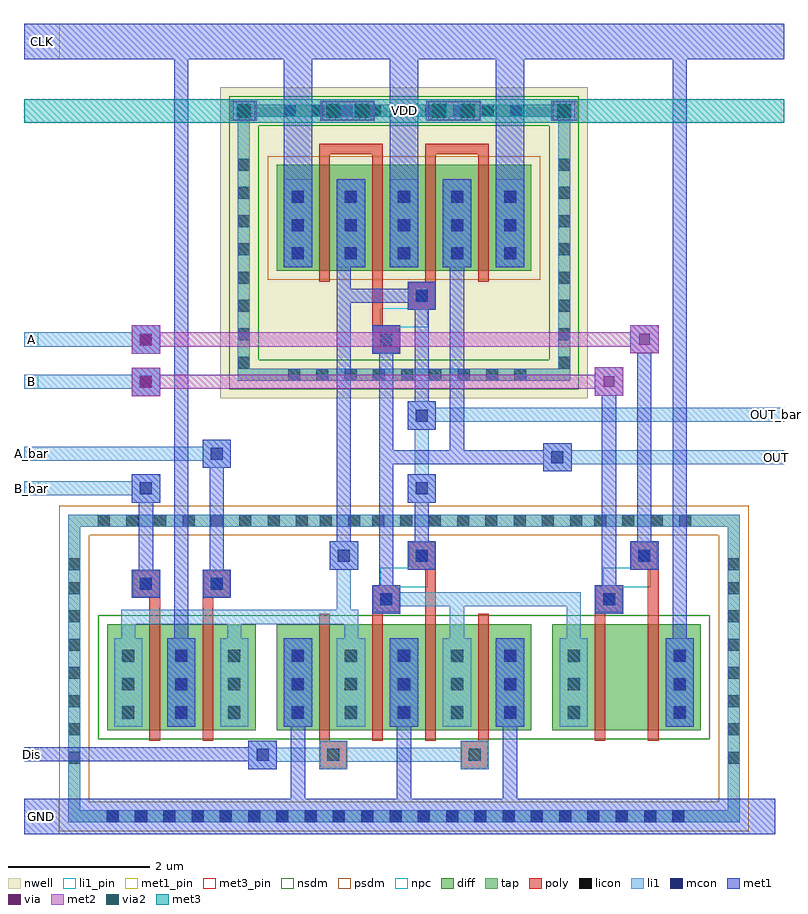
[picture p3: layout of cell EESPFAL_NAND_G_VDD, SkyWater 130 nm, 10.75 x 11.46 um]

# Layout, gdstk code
import gdstk
lib = gdstk.Library(unit=1e-6, precision=1e-09)
def R(c, l, rs):  # rectangles x0, y0, x1, y1
    for r in rs: c.add(gdstk.rectangle(r[:2], r[2:], *l))
def A(c, l, x, y, w, h, nx, ny, dx, dy):  # array of equal rectangles
    R(c, l, [(x+i*dx, y+j*dy, x+i*dx+w, y+j*dy+h) for i in range(nx) for j in range(ny)])
nwell = (64, 20)
diff = (65, 20)
tap = (65, 44)
poly = (66, 20)
licon = (66, 44)
li1_pin = (67, 16)
li1 = (67, 20)
mcon = (67, 44)
met1_pin = (68, 16)
met1 = (68, 20)
via = (68, 44)
met2 = (69, 20)
via2 = (69, 44)
met3_pin = (70, 16)
met3 = (70, 20)
nsdm = (93, 44)
psdm = (94, 20)
npc = (95, 20)

eespfal_nand_g_vdd = lib.new_cell('EESPFAL_NAND_G_VDD')
R(eespfal_nand_g_vdd, nwell, [(-20.15,6.295,-14.95,10.695)])
R(eespfal_nand_g_vdd, diff, [(-21.75,1.6,-19.65,3.1), (-19.35,1.6,-15.75,3.1), (-15.45,1.6,-13.35,3.1), (-19.35,8.095,-15.75,9.595)])
R(eespfal_nand_g_vdd, tap, [(-22.3,0.295,-12.8,0.465), (-22.3,0.465,-22.13,4.48), (-12.97,0.465,-12.8,4.48), (-22.3,4.48,-12.8,4.65), (-19.9,6.545,-15.2,6.715), (-19.9,6.715,-19.73,10.275), (-15.37,6.715,-15.2,10.275), (-19.9,10.275,-15.2,10.445)])
R(eespfal_nand_g_vdd, poly, [(-18.75,1.05,-18.35,1.45), (-16.75,1.05,-16.35,1.45), (-21.15,1.45,-21,3.47), (-20.4,1.45,-20.25,3.47), (-18.75,1.45,-18.6,3.25), (-18,1.45,-17.85,3.25), (-17.25,1.45,-17.1,3.87), (-16.5,1.45,-16.35,3.25), (-14.85,1.45,-14.7,3.25), (-14.1,1.45,-13.95,3.87), (-18,3.25,-17.6,3.65), (-14.85,3.25,-14.45,3.65), (-21.4,3.47,-21,3.87), (-20.4,3.47,-20,3.87), (-17.5,3.87,-17.1,4.27), (-14.35,3.87,-13.95,4.27), (-18,6.925,-17.6,7.325), (-18,7.325,-17.85,9.745), (-17.5,7.545,-17.1,7.945), (-18.75,7.945,-18.6,9.745), (-17.25,7.945,-17.1,9.745), (-16.5,7.945,-16.35,9.745), (-18.75,9.745,-17.85,9.895), (-17.25,9.745,-16.35,9.895)])
A(eespfal_nand_g_vdd, licon, -21.755, 0.295, 0.17, 0.17, 21, 1, 0.4, 0)
A(eespfal_nand_g_vdd, licon, -22.3, 1.125, 0.17, 0.17, 1, 7, 0, 0.4)
A(eespfal_nand_g_vdd, licon, -12.97, 1.125, 0.17, 0.17, 1, 7, 0, 0.4)
A(eespfal_nand_g_vdd, licon, -21.535, 1.765, 0.17, 0.17, 3, 3, 0.75, 0.4)
A(eespfal_nand_g_vdd, licon, -19.135, 1.765, 0.17, 0.17, 5, 3, 0.75, 0.4)
A(eespfal_nand_g_vdd, licon, -15.235, 1.765, 0.17, 0.17, 1, 3, 0, 0.4)
A(eespfal_nand_g_vdd, licon, -13.735, 1.765, 0.17, 0.17, 1, 3, 0, 0.4)
A(eespfal_nand_g_vdd, licon, -21.88, 4.48, 0.17, 0.17, 8, 1, 0.4, 0)
A(eespfal_nand_g_vdd, licon, -18, 4.48, 0.17, 0.17, 8, 1, 0.4, 0)
A(eespfal_nand_g_vdd, licon, -14.86, 4.48, 0.17, 0.17, 4, 1, 0.4, 0)
A(eespfal_nand_g_vdd, licon, -19.19, 6.545, 0.17, 0.17, 9, 1, 0.4, 0)
A(eespfal_nand_g_vdd, licon, -19.9, 6.715, 0.17, 0.17, 1, 8, 0, 0.4)
A(eespfal_nand_g_vdd, licon, -15.37, 6.715, 0.17, 0.17, 1, 8, 0, 0.4)
A(eespfal_nand_g_vdd, licon, -19.135, 8.26, 0.17, 0.17, 5, 3, 0.75, 0.4)
A(eespfal_nand_g_vdd, licon, -19.25, 10.275, 0.17, 0.17, 9, 1, 0.4, 0)
R(eespfal_nand_g_vdd, licon, [(-18.635,1.165,-18.465,1.335), (-16.635,1.165,-16.465,1.335), (-17.885,3.365,-17.715,3.535), (-14.735,3.365,-14.565,3.535), (-21.285,3.585,-21.115,3.755), (-20.285,3.585,-20.115,3.755), (-22.3,3.865,-22.13,4.035), (-12.97,3.865,-12.8,4.035), (-17.385,3.985,-17.215,4.155), (-14.235,3.985,-14.065,4.155), (-18.74,4.48,-18.57,4.65), (-18.34,4.48,-18.17,4.65), (-17.885,7.04,-17.715,7.21), (-17.385,7.66,-17.215,7.83)])
R(eespfal_nand_g_vdd, li1_pin, [(-22.925,4.92,-22.725,5.12), (-12.375,5.36,-12.175,5.56), (-22.925,5.41,-22.725,5.61), (-12.375,5.96,-12.175,6.16), (-22.925,6.43,-22.725,6.63), (-22.925,7.025,-22.725,7.225)])
A(eespfal_nand_g_vdd, li1, -21.65, 1.65, 0.4, 1.25, 3, 1, 0.75, 0)
A(eespfal_nand_g_vdd, li1, -19.25, 1.65, 0.4, 1.25, 5, 2, 0.75, 6.495)
R(eespfal_nand_g_vdd, li1, [(-22.3,0.295,-12.8,0.465), (-22.3,0.465,-22.13,4.48), (-12.97,0.465,-12.8,4.48), (-19.75,1.05,-19.35,1.15), (-18.75,1.05,-18.35,1.15), (-16.75,1.05,-16.35,1.15), (-19.75,1.15,-16.35,1.35), (-19.75,1.35,-19.35,1.45), (-18.75,1.35,-18.35,1.45), (-16.75,1.35,-16.35,1.45), (-15.35,1.65,-14.95,2.9), (-13.85,1.65,-13.45,2.9), (-21.55,2.9,-21.35,3.1), (-20.05,2.9,-19.85,3.1), (-18.395,2.9,-18.2,3.1), (-16.9,2.9,-16.7,3.35), (-15.25,2.9,-15.05,3.35), (-21.55,3.1,-18.2,3.3), (-18,3.25,-17.6,3.35), (-14.85,3.25,-14.45,3.65), (-18.5,3.3,-18.3,3.87), (-18,3.35,-15.05,3.55), (-21.4,3.47,-21,3.87), (-20.4,3.47,-20,3.87), (-18,3.55,-17.6,3.65), (-18.6,3.87,-18.2,4.27), (-17.5,3.87,-17.1,4.27), (-14.35,3.87,-13.95,4.27), (-22.3,4.48,-12.8,4.65), (-21.4,4.82,-21,4.92), (-17.5,4.82,-17.1,5.22), (-22.925,4.92,-21,5.12), (-21.4,5.12,-21,5.22), (-17.4,5.22,-17.2,5.85), (-15.58,5.26,-15.18,5.36), (-20.4,5.31,-20,5.41), (-15.58,5.36,-12.175,5.56), (-22.925,5.41,-20,5.61), (-15.58,5.56,-15.18,5.66), (-20.4,5.61,-20,5.71), (-17.5,5.85,-17.1,5.96), (-17.5,5.96,-12.175,6.16), (-17.5,6.16,-17.1,6.25), (-21.4,6.325,-21,6.43), (-22.925,6.43,-21,6.63), (-19.9,6.545,-15.2,6.715), (-21.4,6.63,-21,6.725), (-19.9,6.715,-19.73,10.275), (-15.37,6.715,-15.2,10.275), (-21.4,6.925,-21,7.025), (-18,6.925,-17.6,7.325), (-22.925,7.025,-21,7.225), (-21.4,7.225,-21,7.325), (-17.5,7.545,-17.1,7.945), (-19.9,10.275,-15.2,10.445)])
A(eespfal_nand_g_vdd, mcon, -21.755, 0.295, 0.17, 0.17, 21, 1, 0.4, 0)
A(eespfal_nand_g_vdd, mcon, -20.785, 1.765, 0.17, 0.17, 1, 3, 0, 0.4)
A(eespfal_nand_g_vdd, mcon, -19.135, 1.765, 0.17, 0.17, 3, 3, 1.5, 0.4)
A(eespfal_nand_g_vdd, mcon, -13.735, 1.765, 0.17, 0.17, 1, 3, 0, 0.4)
A(eespfal_nand_g_vdd, mcon, -19.135, 8.26, 0.17, 0.17, 5, 3, 0.75, 0.4)
R(eespfal_nand_g_vdd, mcon, [(-19.635,1.165,-19.465,1.335), (-17.885,3.365,-17.715,3.535), (-14.735,3.365,-14.565,3.535), (-21.285,3.585,-21.115,3.755), (-20.285,3.585,-20.115,3.755), (-18.485,3.985,-18.315,4.155), (-17.385,3.985,-17.215,4.155), (-14.235,3.985,-14.065,4.155), (-21.285,4.935,-21.115,5.105), (-17.385,4.935,-17.215,5.105), (-15.465,5.375,-15.295,5.545), (-20.285,5.425,-20.115,5.595), (-17.385,5.965,-17.215,6.135), (-21.285,6.44,-21.115,6.61), (-21.285,7.04,-21.115,7.21), (-17.885,7.04,-17.715,7.21), (-17.385,7.66,-17.215,7.83), (-19.9,10.275,-19.73,10.445), (-18.635,10.275,-18.465,10.445), (-18.235,10.275,-18.065,10.445), (-17.135,10.275,-16.965,10.445), (-16.735,10.275,-16.565,10.445), (-15.37,10.275,-15.2,10.445)])
R(eespfal_nand_g_vdd, met1_pin, [(-22.925,0.13,-22.425,0.63), (-22.925,1.16,-22.725,1.36), (-22.92,11.09,-22.42,11.59)])
A(eespfal_nand_g_vdd, met1, -19.15, 0.63, 0.2, 1.02, 3, 1, 1.5, 0)
A(eespfal_nand_g_vdd, met1, -19.25, 1.65, 0.4, 1.25, 3, 1, 1.5, 0)
A(eespfal_nand_g_vdd, met1, -19.25, 8.145, 0.4, 2.945, 3, 1, 1.5, 0)
R(eespfal_nand_g_vdd, met1, [(-22.925,0.13,-12.3,0.63), (-19.75,1.05,-19.35,1.16), (-22.925,1.16,-19.35,1.36), (-19.75,1.36,-19.35,1.45), (-20.9,1.65,-20.5,2.9), (-13.85,1.65,-13.45,2.9), (-20.8,2.9,-20.6,11.09), (-13.75,2.9,-13.55,11.09), (-18,3.25,-17.6,3.65), (-14.85,3.25,-14.45,3.65), (-21.4,3.47,-21,3.87), (-20.4,3.47,-20,3.87), (-17.9,3.65,-17.7,5.36), (-14.75,3.65,-14.55,6.33), (-21.3,3.87,-21.1,4.82), (-20.3,3.87,-20.1,5.31), (-18.6,3.87,-18.2,4.27), (-17.5,3.87,-17.1,4.27), (-14.35,3.87,-13.95,4.27), (-18.5,4.27,-18.3,7.645), (-17.4,4.27,-17.2,4.82), (-14.25,4.27,-14.05,6.93), (-21.4,4.82,-21,5.22), (-17.5,4.82,-17.1,5.22), (-15.58,5.26,-15.18,5.36), (-20.4,5.31,-20,5.71), (-17.9,5.36,-15.18,5.56), (-17.9,5.56,-17.7,6.925), (-16.9,5.56,-16.7,8.145), (-15.58,5.56,-15.18,5.66), (-17.5,5.85,-17.1,6.25), (-17.4,6.25,-17.2,7.545), (-21.4,6.325,-21,6.725), (-14.85,6.33,-14.45,6.73), (-21.4,6.925,-21,7.325), (-18,6.925,-17.6,7.325), (-14.35,6.93,-13.95,7.33), (-17.5,7.545,-17.1,7.645), (-18.5,7.645,-17.1,7.845), (-18.5,7.845,-18.3,8.145), (-17.5,7.845,-17.1,7.945), (-18.5,8.145,-18.1,9.395), (-17,8.145,-16.6,9.395), (-19.975,10.23,-19.655,10.49), (-18.71,10.23,-17.975,10.49), (-17.21,10.23,-16.475,10.49), (-15.445,10.23,-15.125,10.49), (-22.92,11.09,-12.175,11.59)])
R(eespfal_nand_g_vdd, via, [(-21.275,6.45,-21.125,6.6), (-14.725,6.455,-14.575,6.605), (-21.275,7.05,-21.125,7.2), (-14.225,7.055,-14.075,7.205), (-19.89,10.285,-19.74,10.435), (-18.625,10.285,-18.475,10.435), (-18.225,10.285,-18.075,10.435), (-17.125,10.285,-16.975,10.435), (-16.725,10.285,-16.575,10.435), (-15.36,10.285,-15.21,10.435)])
R(eespfal_nand_g_vdd, met2, [(-21.4,6.325,-21,6.43), (-14.85,6.33,-14.45,6.43), (-21.4,6.43,-14.45,6.63), (-21.4,6.63,-21,6.725), (-14.85,6.63,-14.45,6.73), (-21.4,6.925,-21,7.025), (-14.35,6.93,-13.95,7.025), (-21.4,7.025,-13.95,7.225), (-21.4,7.225,-21,7.325), (-14.35,7.225,-13.95,7.33), (-20,10.22,-19.63,10.5), (-18.735,10.22,-17.965,10.5), (-17.235,10.22,-16.465,10.5), (-15.47,10.22,-15.1,10.5)])
R(eespfal_nand_g_vdd, via2, [(-19.915,10.26,-19.715,10.46), (-18.65,10.26,-18.45,10.46), (-18.25,10.26,-18.05,10.46), (-17.15,10.26,-16.95,10.46), (-16.75,10.26,-16.55,10.46), (-15.385,10.26,-15.185,10.46)])
R(eespfal_nand_g_vdd, met3_pin, [(-22.925,10.195,-12.175,10.525)])
R(eespfal_nand_g_vdd, met3, [(-22.925,10.195,-12.175,10.525)])
R(eespfal_nand_g_vdd, nsdm, [(-21.875,1.475,-13.225,3.225), (-20.025,6.42,-15.075,6.84), (-20.025,6.84,-19.605,10.15), (-15.495,6.84,-15.075,10.15), (-20.025,10.15,-15.075,10.57)])
R(eespfal_nand_g_vdd, psdm, [(-22.425,0.17,-12.675,0.59), (-22.425,0.59,-22.005,4.355), (-13.095,0.59,-12.675,4.355), (-22.425,4.355,-12.675,4.775), (-19.475,7.97,-15.625,9.72)])
R(eespfal_nand_g_vdd, npc, [(-18.735,1.065,-18.365,1.435), (-16.735,1.065,-16.365,1.435), (-17.985,3.265,-17.615,3.625), (-14.835,3.265,-14.465,3.625), (-21.385,3.485,-21.015,3.855), (-20.385,3.485,-20.015,3.855), (-17.985,3.625,-17.215,3.635), (-14.835,3.625,-14.065,3.635), (-17.885,3.635,-17.215,3.885), (-14.735,3.635,-14.065,3.885), (-17.885,3.885,-17.115,3.895), (-14.735,3.885,-13.965,3.895), (-17.485,3.895,-17.115,4.255), (-14.335,3.895,-13.965,4.255), (-17.985,6.94,-17.615,7.3), (-17.985,7.3,-17.215,7.31), (-17.885,7.31,-17.215,7.56), (-17.885,7.56,-17.115,7.57), (-17.485,7.57,-17.115,7.93)])
eespfal_nand_g_vdd.add(gdstk.Label('B_bar', (-22.825,5.02), layer=67, texttype=5))
eespfal_nand_g_vdd.add(gdstk.Label('A_bar', (-22.825,5.51), layer=67, texttype=5))
eespfal_nand_g_vdd.add(gdstk.Label('B', (-22.825,6.53), layer=67, texttype=5))
eespfal_nand_g_vdd.add(gdstk.Label('A', (-22.825,7.125), layer=67, texttype=5))
eespfal_nand_g_vdd.add(gdstk.Label('OUT_bar', (-12.275,6.06), layer=67, texttype=5))
eespfal_nand_g_vdd.add(gdstk.Label('OUT', (-12.275,5.46), layer=67, texttype=5))
eespfal_nand_g_vdd.add(gdstk.Label('VDD', (-17.55,10.36), layer=70, texttype=5))
eespfal_nand_g_vdd.add(gdstk.Label('Dis', (-22.825,1.26), layer=68, texttype=5))
eespfal_nand_g_vdd.add(gdstk.Label('GND', (-22.675,0.38), layer=68, texttype=5))
eespfal_nand_g_vdd.add(gdstk.Label('CLK', (-22.67,11.34), layer=68, texttype=5))

lib.write_gds('EESPFAL_NAND_G_VDD.gds')
